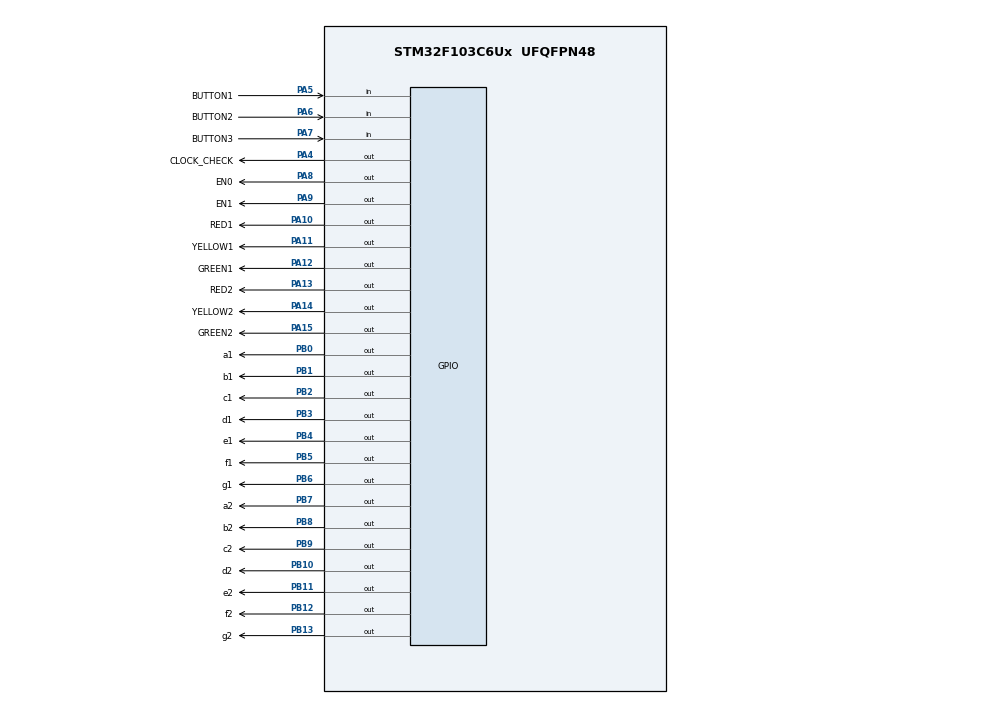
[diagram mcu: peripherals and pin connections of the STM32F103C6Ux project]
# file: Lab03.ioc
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Mcu.Family=STM32F1
Mcu.Name=STM32F103C6Ux
Mcu.Package=UFQFPN48
NVIC.PriorityGroup=NVIC_PRIORITYGROUP_4
NVIC.TIM2_IRQn=true\:0\:0\:false\:false\:true\:true\:true
PA10.GPIO_Label=RED1
PA10.Signal=GPIO_Output
PA11.GPIO_Label=YELLOW1
PA11.Signal=GPIO_Output
PA12.GPIO_Label=GREEN1
PA12.Signal=GPIO_Output
PA13.GPIO_Label=RED2
PA13.Signal=GPIO_Output
PA14.GPIO_Label=YELLOW2
PA14.Signal=GPIO_Output
PA15.GPIO_Label=GREEN2
PA15.Signal=GPIO_Output
PA4.GPIO_Label=CLOCK_CHECK
PA4.Signal=GPIO_Output
PA5.GPIO_Label=BUTTON1
PA5.GPIO_PuPd=GPIO_PULLUP
PA5.Signal=GPIO_Input
PA6.GPIO_Label=BUTTON2
PA6.GPIO_PuPd=GPIO_PULLUP
PA6.Signal=GPIO_Input
PA7.GPIO_Label=BUTTON3
PA7.GPIO_PuPd=GPIO_PULLUP
PA7.Signal=GPIO_Input
PA8.GPIO_Label=EN0
PA8.Signal=GPIO_Output
PA9.GPIO_Label=EN1
PA9.Signal=GPIO_Output
PB0.GPIO_Label=a1
PB0.Signal=GPIO_Output
PB1.GPIO_Label=b1
PB1.Signal=GPIO_Output
PB10.GPIO_Label=d2
PB10.Signal=GPIO_Output
PB11.GPIO_Label=e2
PB11.Signal=GPIO_Output
PB12.GPIO_Label=f2
PB12.Signal=GPIO_Output
PB13.GPIO_Label=g2
PB13.Signal=GPIO_Output
PB2.GPIO_Label=c1
PB2.Signal=GPIO_Output
PB3.GPIO_Label=d1
PB3.Signal=GPIO_Output
PB4.GPIO_Label=e1
PB4.Signal=GPIO_Output
PB5.GPIO_Label=f1
PB5.Signal=GPIO_Output
PB6.GPIO_Label=g1
PB6.Signal=GPIO_Output
PB7.GPIO_Label=a2
PB7.Signal=GPIO_Output
PB8.GPIO_Label=b2
PB8.Signal=GPIO_Output
PB9.GPIO_Label=c2
PB9.Signal=GPIO_Output
ProjectManager.HeapSize=0x200
ProjectManager.StackSize=0x400
ProjectManager.TargetToolchain=STM32CubeIDE
RCC.APB1Freq_Value=8000000
RCC.APB2Freq_Value=8000000
TIM2.Period=10
TIM2.Prescaler=7999
VP_SYS_VS_ND.Mode=No_Debug
VP_TIM2_VS_ClockSourceINT.Mode=Internal
board=custom

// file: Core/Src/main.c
/* USER CODE BEGIN Header */
/**
  ******************************************************************************
  * @file           : main.c
  * @brief          : Main program body
  ******************************************************************************
  * @attention
  *
  * <h2><center>&copy; Copyright (c) 2022 STMicroelectronics.
  * All rights reserved.</center></h2>
  *
  * This software component is licensed by ST under BSD 3-Clause license,
  * the "License"; You may not use this file except in compliance with the
  * License. You may obtain a copy of the License at:
  *                        opensource.org/licenses/BSD-3-Clause
  *
  ******************************************************************************
  */
/* USER CODE END Header */
#include "main.h"

/* USER CODE BEGIN Includes */
#include "global.h"
#include "software_timer.h"
#include "button.h"
#include "display_7_SEG.h"
#include "fsm_automatic.h"
#include "fsm_modify.h"
/* USER CODE END Includes */

TIM_HandleTypeDef htim2;

void SystemClock_Config(void);
static void MX_GPIO_Init(void);
static void MX_TIM2_Init(void);

int main(void)
{

  /* MCU Configuration--------------------------------------------------------*/

  /* Reset of all peripherals, Initializes the Flash interface and the Systick. */
  HAL_Init();

  /* Configure the system clock */
  SystemClock_Config();

  /* Initialize all configured peripherals */
  MX_GPIO_Init();
  MX_TIM2_Init();
  /* USER CODE BEGIN 2 */
  HAL_TIM_Base_Start_IT(&htim2);

  /* USER CODE END 2 */

  /* Infinite loop */
  /* USER CODE BEGIN WHILE */
  // set initial state for traffic light
  HAL_GPIO_WritePin(CLOCK_CHECK_GPIO_Port, CLOCK_CHECK_Pin, GPIO_PIN_SET);
  HAL_GPIO_WritePin(RED1_GPIO_Port, RED1_Pin, GPIO_PIN_SET);
  HAL_GPIO_WritePin(YELLOW1_GPIO_Port, YELLOW1_Pin, GPIO_PIN_SET);
  HAL_GPIO_WritePin(GREEN1_GPIO_Port, GREEN1_Pin, GPIO_PIN_SET);
  HAL_GPIO_WritePin(RED2_GPIO_Port, RED2_Pin, GPIO_PIN_SET);
  HAL_GPIO_WritePin(YELLOW2_GPIO_Port, YELLOW2_Pin, GPIO_PIN_SET);
  HAL_GPIO_WritePin(GREEN2_GPIO_Port, GREEN2_Pin, GPIO_PIN_SET);
  // set initial state for enable pin
  HAL_GPIO_WritePin(EN0_GPIO_Port, EN0_Pin, GPIO_PIN_SET);
  HAL_GPIO_WritePin(EN1_GPIO_Port, EN1_Pin, GPIO_PIN_SET);
  set_timer3(500);
  while (1)
  {
    /* USER CODE END WHILE */

    /* USER CODE BEGIN 3 */
	  // timer flag 0 has time cycle of 1 second
	  // controls the red blinking led, separate from the rest
	  if(timer0_flag == 1)
	  {
		  timer0_flag = 0;
		  HAL_GPIO_TogglePin(CLOCK_CHECK_GPIO_Port, CLOCK_CHECK_Pin);
	  }
	  // execute the mode
	  switch(mode)
	  {
	  case 1:
		  fsm_automatic_run();
		  display_7SEG_automatic();
		  if(button1_flag == 1)
		  {
			  button1_flag = 0;
			  mode = 2;
			  count = 1;
			  HAL_GPIO_WritePin(RED1_GPIO_Port, RED1_Pin, GPIO_PIN_SET);
			  HAL_GPIO_WritePin(YELLOW1_GPIO_Port, YELLOW1_Pin, GPIO_PIN_SET);
			  HAL_GPIO_WritePin(GREEN1_GPIO_Port, GREEN1_Pin, GPIO_PIN_SET);
			  HAL_GPIO_WritePin(RED2_GPIO_Port, RED2_Pin, GPIO_PIN_SET);
			  HAL_GPIO_WritePin(YELLOW2_GPIO_Port, YELLOW2_Pin, GPIO_PIN_SET);
			  HAL_GPIO_WritePin(GREEN2_GPIO_Port, GREEN2_Pin, GPIO_PIN_SET);
			  set_timer1(500);
		  }
		  break;
	  case 2:
		  fsm_modify_run();
		  display_7SEG_modify();
		  if(button1_flag == 1)
		  {
			  button1_flag = 0;
			  mode = 3;
			  count = 1;
			  HAL_GPIO_WritePin(RED1_GPIO_Port, RED1_Pin, GPIO_PIN_SET);
			  HAL_GPIO_WritePin(RED2_GPIO_Port, RED2_Pin, GPIO_PIN_SET);
		  }
		  break;
	  case 3:
		  fsm_modify_run();
		  display_7SEG_modify();
		  if(button1_flag == 1)
		  {
			  button1_flag = 0;
			  mode = 4;
			  count = 1;
			  HAL_GPIO_WritePin(YELLOW1_GPIO_Port, YELLOW1_Pin, GPIO_PIN_SET);
			  HAL_GPIO_WritePin(YELLOW2_GPIO_Port, YELLOW2_Pin, GPIO_PIN_SET);
		  }
		  break;
	  case 4:
		  fsm_modify_run();
		  display_7SEG_modify();
		  if(button1_flag == 1)
		  {
			  button1_flag = 0;
			  mode = 1;
			  count = 1;
			  status1 = INIT;
			  status2 = INIT;
			  HAL_GPIO_WritePin(GREEN1_GPIO_Port, GREEN1_Pin, GPIO_PIN_SET);
			  HAL_GPIO_WritePin(GREEN2_GPIO_Port, GREEN2_Pin, GPIO_PIN_SET);
		  }
		  break;
	  default:
		  mode = 1;
		  break;
	  }
  }
  /* USER CODE END 3 */
}

void SystemClock_Config(void)
{
  RCC_OscInitTypeDef RCC_OscInitStruct = {0};
  RCC_ClkInitTypeDef RCC_ClkInitStruct = {0};

  /** Initializes the RCC Oscillators according to the specified parameters
  * in the RCC_OscInitTypeDef structure.
  */
  RCC_OscInitStruct.OscillatorType = RCC_OSCILLATORTYPE_HSI;
  RCC_OscInitStruct.HSIState = RCC_HSI_ON;
  RCC_OscInitStruct.HSICalibrationValue = RCC_HSICALIBRATION_DEFAULT;
  RCC_OscInitStruct.PLL.PLLState = RCC_PLL_NONE;
  if (HAL_RCC_OscConfig(&RCC_OscInitStruct) != HAL_OK)
  {
    Error_Handler();
  }
  /** Initializes the CPU, AHB and APB buses clocks
  */
  RCC_ClkInitStruct.ClockType = RCC_CLOCKTYPE_HCLK|RCC_CLOCKTYPE_SYSCLK
                              |RCC_CLOCKTYPE_PCLK1|RCC_CLOCKTYPE_PCLK2;
  RCC_ClkInitStruct.SYSCLKSource = RCC_SYSCLKSOURCE_HSI;
  RCC_ClkInitStruct.AHBCLKDivider = RCC_SYSCLK_DIV1;
  RCC_ClkInitStruct.APB1CLKDivider = RCC_HCLK_DIV1;
  RCC_ClkInitStruct.APB2CLKDivider = RCC_HCLK_DIV1;

  if (HAL_RCC_ClockConfig(&RCC_ClkInitStruct, FLASH_LATENCY_0) != HAL_OK)
  {
    Error_Handler();
  }
}

static void MX_TIM2_Init(void)
{

  TIM_ClockConfigTypeDef sClockSourceConfig = {0};
  TIM_MasterConfigTypeDef sMasterConfig = {0};

  htim2.Instance = TIM2;
  htim2.Init.Prescaler = 7999;
  htim2.Init.CounterMode = TIM_COUNTERMODE_UP;
  htim2.Init.Period = 10;
  htim2.Init.ClockDivision = TIM_CLOCKDIVISION_DIV1;
  htim2.Init.AutoReloadPreload = TIM_AUTORELOAD_PRELOAD_DISABLE;
  if (HAL_TIM_Base_Init(&htim2) != HAL_OK)
  {
    Error_Handler();
  }
  sClockSourceConfig.ClockSource = TIM_CLOCKSOURCE_INTERNAL;
  if (HAL_TIM_ConfigClockSource(&htim2, &sClockSourceConfig) != HAL_OK)
  {
    Error_Handler();
  }
  sMasterConfig.MasterOutputTrigger = TIM_TRGO_RESET;
  sMasterConfig.MasterSlaveMode = TIM_MASTERSLAVEMODE_DISABLE;
  if (HAL_TIMEx_MasterConfigSynchronization(&htim2, &sMasterConfig) != HAL_OK)
  {
    Error_Handler();
  }

}

static void MX_GPIO_Init(void)
{
  GPIO_InitTypeDef GPIO_InitStruct = {0};

  /* GPIO Ports Clock Enable */
  __HAL_RCC_GPIOA_CLK_ENABLE();
  __HAL_RCC_GPIOB_CLK_ENABLE();

  /*Configure GPIO pin Output Level */
  HAL_GPIO_WritePin(GPIOA, CLOCK_CHECK_Pin|EN0_Pin|EN1_Pin|RED1_Pin
                          |YELLOW1_Pin|GREEN1_Pin|RED2_Pin|YELLOW2_Pin
                          |GREEN2_Pin, GPIO_PIN_RESET);

  /*Configure GPIO pin Output Level */
  HAL_GPIO_WritePin(GPIOB, a1_Pin|b1_Pin|c1_Pin|d2_Pin
                          |e2_Pin|f2_Pin|g2_Pin|d1_Pin
                          |e1_Pin|f1_Pin|g1_Pin|a2_Pin
                          |b2_Pin|c2_Pin, GPIO_PIN_RESET);

  /*Configure GPIO pins : CLOCK_CHECK_Pin EN0_Pin EN1_Pin RED1_Pin
                           YELLOW1_Pin GREEN1_Pin RED2_Pin YELLOW2_Pin
                           GREEN2_Pin */
  GPIO_InitStruct.Pin = CLOCK_CHECK_Pin|EN0_Pin|EN1_Pin|RED1_Pin
                          |YELLOW1_Pin|GREEN1_Pin|RED2_Pin|YELLOW2_Pin
                          |GREEN2_Pin;
  GPIO_InitStruct.Mode = GPIO_MODE_OUTPUT_PP;
  GPIO_InitStruct.Pull = GPIO_NOPULL;
  GPIO_InitStruct.Speed = GPIO_SPEED_FREQ_LOW;
  HAL_GPIO_Init(GPIOA, &GPIO_InitStruct);

  /*Configure GPIO pins : BUTTON1_Pin BUTTON2_Pin BUTTON3_Pin */
  GPIO_InitStruct.Pin = BUTTON1_Pin|BUTTON2_Pin|BUTTON3_Pin;
  GPIO_InitStruct.Mode = GPIO_MODE_INPUT;
  GPIO_InitStruct.Pull = GPIO_PULLUP;
  HAL_GPIO_Init(GPIOA, &GPIO_InitStruct);

  /*Configure GPIO pins : a1_Pin b1_Pin c1_Pin d2_Pin
                           e2_Pin f2_Pin g2_Pin d1_Pin
                           e1_Pin f1_Pin g1_Pin a2_Pin
                           b2_Pin c2_Pin */
  GPIO_InitStruct.Pin = a1_Pin|b1_Pin|c1_Pin|d2_Pin
                          |e2_Pin|f2_Pin|g2_Pin|d1_Pin
                          |e1_Pin|f1_Pin|g1_Pin|a2_Pin
                          |b2_Pin|c2_Pin;
  GPIO_InitStruct.Mode = GPIO_MODE_OUTPUT_PP;
  GPIO_InitStruct.Pull = GPIO_NOPULL;
  GPIO_InitStruct.Speed = GPIO_SPEED_FREQ_LOW;
  HAL_GPIO_Init(GPIOB, &GPIO_InitStruct);

}

/* USER CODE BEGIN 4 */
void HAL_TIM_PeriodElapsedCallback(TIM_HandleTypeDef * htim)
{
	timer_run();
	getKeyInput1();
	getKeyInput2();
	getKeyInput3();
}
/* USER CODE END 4 */

void Error_Handler(void)
{
  __disable_irq();
  while (1)
  {
  }
}

/************************ (C) COPYRIGHT STMicroelectronics *****END OF FILE****/
